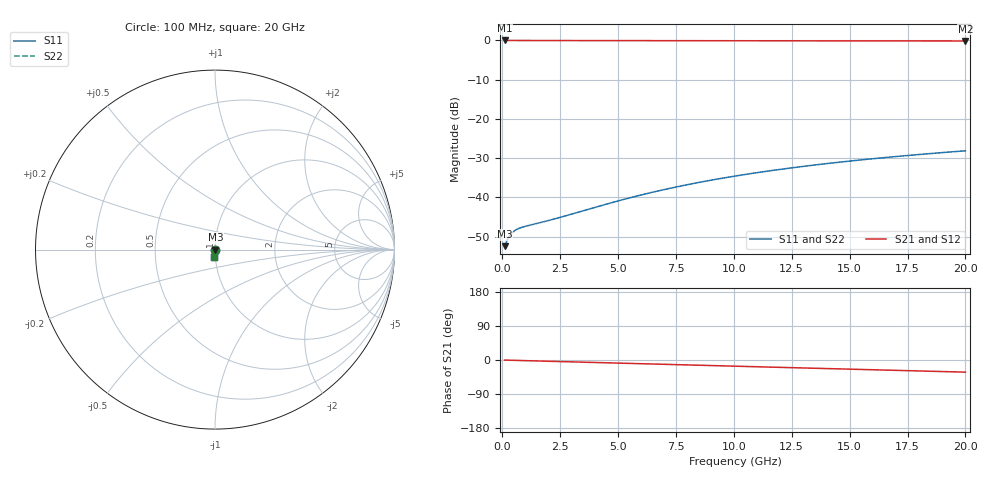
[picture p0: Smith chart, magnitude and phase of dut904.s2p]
! Touchstone file exported from HFSS 2026.1.0
!  File:  C:/ffzhzh/LocalFiles/Ansys_Project_Files/temp_train_BSMRDL_904_1783171451_51560.aedt
!  Generated:  09:25:15 PM Jul  4, 2026
!  Design:  BSMRDL
!  Project:  temp_train_BSMRDL_904_1783171451_51560
! Variables:
!  h_bsmrdl = 3.66um
!  h_ox = 20um
!  h_rdl = 5um
!  h_sub = 80um
!  h_tmrdl = 5um
!  h_tsv = 80um
!  h_via = 3um
!  l_bsmrdl = 563.28um
!  l_sub = 963.28um
!  l_tmrdl = 200um
!  m_sub = 200um
!  pitch = 31.05um
!  r_tsv = 6um
!  s_tmrdl = 10um
!  w_bsmrdl = 27.19um
!  w_sub = 500um
!  w_tmrdl = 12um
!  x_tsv_center1 = 206um
!  x_tsv_center2 = 796.47um
!  x_tsv_center3 = 1008.47um
!  x_tsv_center4 = 1598.94um
!  x_tsv_center5 = 1810.94um
!  x_tsv_center6 = 2401.41um
# GHz S MA R 50.000000
! Terminal data exported
! Port[1] = BSM_RDL1_1_T1
! Port[2] = BSM_RDL1_1_T2
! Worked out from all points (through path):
!   200 points, 100 MHz to 20 GHz, reference 50 ohm
!   highest |S21| = -0.02 dB at 100 MHz (marker M1); lowest = -0.2 dB at 20 GHz (marker M2)
!   group delay of S21, straight-line fit = 4.43 ps
!   lowest |S11| = -52.5 dB at 100 MHz (marker M3), VSWR 1.00, Z = 50.2 + j0.0468 ohm
!   |S11| at or under -10 dB: start of sweep to end of sweep
!   |S22| runs from -52.5 to -28.0 dB; largest |S21 - S12| = 4.3e-15
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0.1  0.002382 11.3  0.9977 -0.2  0.9977 -0.2  0.002382 11.3
! Gamma 0 0 0 0
! Port Impedance 50 0 50 0
0.2  0.002792 15.4  0.9973 -0.4  0.9973 -0.4  0.002792 15.4
0.3  0.003181 14.6  0.9969 -0.6  0.9969 -0.6  0.003182 14.6
0.4  0.003481 12.0  0.9966 -0.7  0.9966 -0.7  0.003482 12.0
0.5  0.0037 9.1  0.9964 -0.9  0.9964 -0.9  0.003702 9.1
0.6  0.003864 6.2  0.9962 -1.1  0.9962 -1.1  0.003867 6.2
0.7  0.003991 3.5  0.996 -1.2  0.996 -1.2  0.003995 3.5
1  0.004268 -3.4  0.9957 -1.7  0.9957 -1.7  0.004275 -3.4
2.2  0.005246 -21.8  0.995 -3.7  0.995 -3.7  0.005273 -21.7
3.5  0.006739 -34.7  0.9941 -5.8  0.9941 -5.8  0.006799 -34.5
5.2  0.009316 -46.9  0.9926 -8.6  0.9926 -8.6  0.009433 -46.5
6  0.01071 -51.6  0.9918 -9.9  0.9918 -9.9  0.01085 -51.0
6.8  0.01218 -55.8  0.9911 -11.2  0.9911 -11.2  0.01236 -55.2
7.6  0.01371 -59.7  0.9904 -12.4  0.9904 -12.4  0.01392 -58.9
8.4  0.01529 -63.3  0.9897 -13.7  0.9897 -13.7  0.01554 -62.4
10.1  0.01874 -70.1  0.9884 -16.4  0.9884 -16.4  0.01907 -69.0
11.7  0.02206 -75.8  0.9872 -19.0  0.9872 -19.0  0.02247 -74.5
13.4  0.02561 -81.2  0.986 -21.6  0.986 -21.6  0.02611 -79.7
15  0.02895 -85.9  0.985 -24.2  0.985 -24.2  0.02953 -84.2
16.7  0.03246 -90.6  0.9839 -26.9  0.9839 -26.9  0.03313 -88.7
18.3  0.03572 -94.7  0.9829 -29.4  0.9829 -29.4  0.03648 -92.6
20  0.03912 -98.8  0.982 -32.1  0.982 -32.1  0.03998 -96.5
